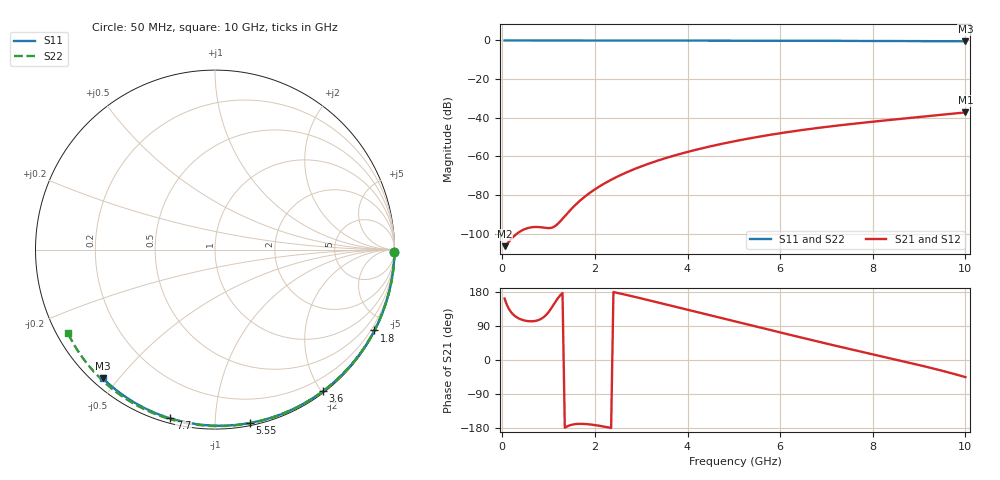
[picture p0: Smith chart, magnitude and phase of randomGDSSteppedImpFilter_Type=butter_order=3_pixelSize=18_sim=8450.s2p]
! freq	dB(S11)	phase(S11)	dB(S12)	phase(S12)
!  dB(S21)	phase(S21)	dB(S22)	phase(S22)
!S-par simulation data
#  GHz  S  DB  R 50
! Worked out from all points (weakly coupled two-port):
!   200 points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, 50 MHz to 10 GHz, reference 50 ohm
!   highest |S21| = -37.27 dB at 10 GHz (marker M1); lowest = -106.5 dB at 50 MHz (marker M2)
!   lowest |S11| = -0.4 dB at 10 GHz (marker M3), VSWR 39.89, Z = 1.51 - j22.7 ohm
!   |S11| at or under -10 dB: nowhere
!   |S22| runs from -0.5 to 0.0 dB; largest |S21 - S12| = 0
!   S11 on the Smith chart (normalised r, x): 50 MHz: open; 1.8 GHz: 0.04, -4.18; 3.6 GHz: 0.02, -2.02; 5.55 GHz: 0.02, -1.22; 7.7 GHz: 0.02, -0.77; 10 GHz: 0.03, -0.45
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0.05  -0.00 -0.8  -106.46 162.1  -106.46 162.1  -0.00 -0.9
0.45  -0.01 -6.8  -98.01 105.2  -98.01 105.2  -0.01 -7.8
0.85  -0.01 -12.8  -96.73 109.3  -96.73 109.3  -0.02 -14.7
1.3  -0.02 -19.5  -92.31 176.7  -92.31 176.7  -0.03 -22.4
1.75  -0.03 -26.1  -81.45 -168.6  -81.45 -168.6  -0.04 -30.1
1.8  -0.03 -26.9  -80.49 -169.0  -80.49 -169.0  -0.04 -30.9
1.85  -0.04 -27.6  -79.58 -169.5  -79.58 -169.5  -0.04 -31.7
2.05  -0.04 -30.5  -76.27 -172.6  -76.27 -172.6  -0.05 -35.1
2.2  -0.04 -32.7  -74.09 -175.8  -74.09 -175.8  -0.05 -37.6
2.55  -0.05 -37.8  -69.73 175.3  -69.73 175.3  -0.06 -43.3
2.95  -0.06 -43.5  -65.64 164.0  -65.64 164.0  -0.07 -49.9
3.4  -0.07 -49.8  -61.84 150.6  -61.84 150.6  -0.08 -57.1
3.6  -0.07 -52.6  -60.36 144.7  -60.36 144.7  -0.08 -60.2
4.3  -0.09 -62.1  -55.88 123.6  -55.88 123.6  -0.10 -71.1
5.05  -0.11 -72.1  -51.99 101.2  -51.99 101.2  -0.13 -82.3
5.55  -0.13 -78.5  -49.78 86.2  -49.78 86.2  -0.15 -89.6
6.1  -0.15 -85.5  -47.64 69.8  -47.64 69.8  -0.17 -97.5
6.7  -0.18 -92.9  -45.63 52.1  -45.63 52.1  -0.21 -105.9
7.7  -0.24 -104.9  -42.81 23.3  -42.81 23.3  -0.27 -119.6
8.35  -0.29 -112.4  -41.19 5.1  -41.19 5.1  -0.33 -128.3
9.2  -0.36 -122.2  -39.13 -19.2  -39.13 -19.2  -0.41 -139.7
10  -0.44 -131.2  -37.27 -45.2  -37.27 -45.2  -0.51 -150.4
